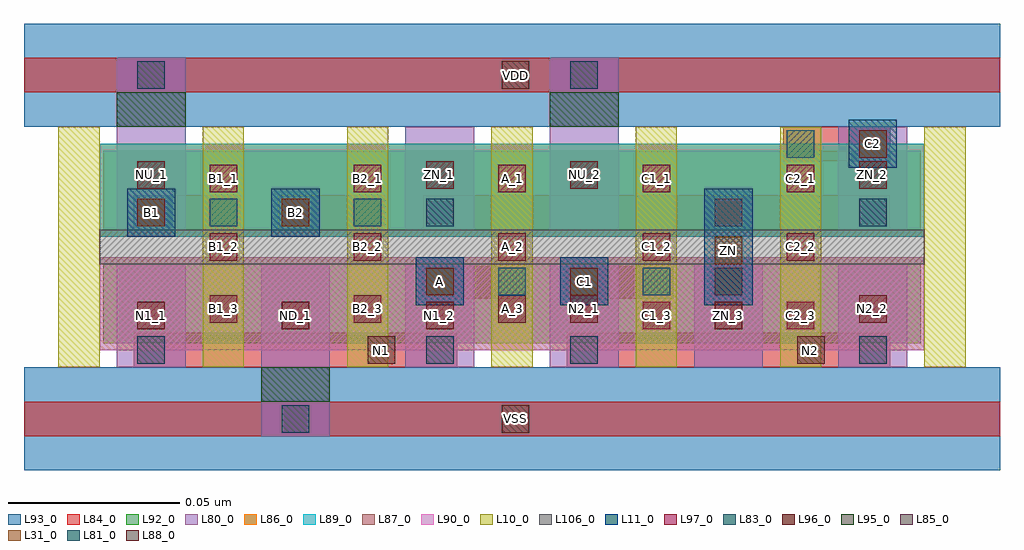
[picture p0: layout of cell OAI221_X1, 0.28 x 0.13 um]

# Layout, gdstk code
import gdstk
lib = gdstk.Library(unit=1e-6, precision=1e-09)
def R(c, l, rs):  # rectangles x0, y0, x1, y1
    for r in rs: c.add(gdstk.rectangle(r[:2], r[2:], *l))
def A(c, l, x, y, w, h, nx, ny, dx, dy):  # array of equal rectangles
    R(c, l, [(x+i*dx, y+j*dy, x+i*dx+w, y+j*dy+h) for i in range(nx) for j in range(ny)])
L10_0 = (10, 0)
L11_0 = (11, 0)
L31_0 = (31, 0)
L80_0 = (80, 0)
L81_0 = (81, 0)
L83_0 = (83, 0)
L84_0 = (84, 0)
L85_0 = (85, 0)
L86_0 = (86, 0)
L87_0 = (87, 0)
L88_0 = (88, 0)
L89_0 = (89, 0)
L90_0 = (90, 0)
L92_0 = (92, 0)
L93_0 = (93, 0)
L95_0 = (95, 0)
L96_0 = (96, 0)
L97_0 = (97, 0)
L106_0 = (106, 0)

oai221_x1 = lib.new_cell('OAI221_X1')
A(oai221_x1, L10_0, -0.027, 0.015, 0.012, 0.07, 7, 1, 0.042, 0)
R(oai221_x1, L11_0, [(0.077,0.033,0.091,0.047), (0.119,0.033,0.133,0.047), (0.161,0.033,0.175,0.067), (-0.007,0.053,0.007,0.067), (0.035,0.053,0.049,0.067), (0.203,0.073,0.217,0.087)])
R(oai221_x1, L31_0, [(0.08,0.036,0.088,0.044), (0.122,0.036,0.13,0.044), (0.164,0.045,0.172,0.053), (-0.004,0.056,0.004,0.064), (0.038,0.056,0.046,0.064), (0.206,0.076,0.214,0.084)])
A(oai221_x1, L80_0, -0.01, 0.015, 0.02, 0.03, 6, 1, 0.042, 0)
R(oai221_x1, L80_0, [(0.032,-0.005,0.052,0.025), (-0.01,0.055,0.01,0.085), (0.074,0.055,0.094,0.085), (0.116,0.055,0.136,0.085), (0.2,0.055,0.22,0.085), (-0.01,0.075,0.01,0.105), (0.116,0.075,0.136,0.105)])
R(oai221_x1, L81_0, [(0.101,0.036,0.109,0.044), (0.143,0.036,0.151,0.044), (0.017,0.056,0.025,0.064), (0.059,0.056,0.067,0.064), (0.185,0.076,0.193,0.084)])
R(oai221_x1, L83_0, [(0.038,-0.004,0.046,0.004), (-0.004,0.016,0.004,0.024), (0.08,0.016,0.088,0.024), (0.122,0.016,0.13,0.024), (0.206,0.016,0.214,0.024), (0.164,0.036,0.172,0.044), (0.08,0.056,0.088,0.064), (0.206,0.056,0.214,0.064), (-0.004,0.096,0.004,0.104), (0.122,0.096,0.13,0.104)])
A(oai221_x1, L84_0, -0.005, 0.015, 0.031, 0.01, 4, 1, 0.021, 0)
A(oai221_x1, L84_0, 0.121, 0.015, 0.031, 0.01, 4, 1, 0.021, 0)
A(oai221_x1, L84_0, -0.005, 0.055, 0.031, 0.01, 3, 1, 0.042, 0)
A(oai221_x1, L84_0, 0.1, 0.055, 0.031, 0.01, 5, 1, 0.021, 0)
R(oai221_x1, L84_0, [(-0.037,-0.005,0.247,0.005), (0.079,0.035,0.11,0.045), (0.121,0.035,0.152,0.045), (0.163,0.035,0.173,0.045), (0.184,0.075,0.215,0.085), (-0.037,0.095,0.247,0.105)])
A(oai221_x1, L85_0, 0.08, 0.036, 0.008, 0.008, 3, 1, 0.042, 0)
R(oai221_x1, L85_0, [(-0.004,0.056,0.004,0.064), (0.038,0.056,0.046,0.064), (0.164,0.056,0.172,0.064), (0.206,0.076,0.214,0.084)])
R(oai221_x1, L86_0, [(-0.015,0.053,0.225,0.08)])
R(oai221_x1, L87_0, [(-0.015,0.02,0.225,0.047)])
R(oai221_x1, L88_0, [(0.102,-0.004,0.11,0.004), (0.063,0.016,0.071,0.024), (0.188,0.016,0.196,0.024), (0.102,0.096,0.11,0.104)])
R(oai221_x1, L89_0, [(-0.015,0.053,0.225,0.08)])
R(oai221_x1, L90_0, [(-0.015,0.02,0.225,0.047)])
R(oai221_x1, L92_0, [(-0.014,0.022,0.224,0.045), (-0.014,0.055,0.224,0.078)])
R(oai221_x1, L93_0, [(-0.037,-0.015,0.247,0.015), (-0.037,0.085,0.247,0.115)])
R(oai221_x1, L95_0, [(0.032,0.005,0.052,0.015), (-0.01,0.085,0.01,0.095), (0.116,0.085,0.136,0.095)])
A(oai221_x1, L96_0, -0.004, 0.026, 0.008, 0.008, 3, 1, 0.042, 0)
R(oai221_x1, L96_0, [(0.164,0.026,0.172,0.034), (0.122,0.028,0.13,0.036), (0.206,0.028,0.214,0.036), (-0.004,0.067,0.004,0.075), (0.08,0.067,0.088,0.075), (0.122,0.067,0.13,0.075), (0.206,0.067,0.214,0.075)])
A(oai221_x1, L97_0, 0.017, 0.028, 0.008, 0.008, 3, 1, 0.042, 0)
A(oai221_x1, L97_0, 0.017, 0.046, 0.008, 0.008, 5, 2, 0.042, 0.02)
R(oai221_x1, L97_0, [(0.143,0.026,0.151,0.034), (0.185,0.026,0.193,0.034)])
R(oai221_x1, L106_0, [(-0.015,0.045,0.225,0.055)])
oai221_x1.add(gdstk.Label('B1', (0,0.06), layer=31, texttype=0))
oai221_x1.add(gdstk.Label('B2', (0.042,0.06), layer=31, texttype=0))
oai221_x1.add(gdstk.Label('A', (0.084,0.04), layer=31, texttype=0))
oai221_x1.add(gdstk.Label('C1', (0.126,0.04), layer=31, texttype=0))
oai221_x1.add(gdstk.Label('C2', (0.21,0.08), layer=31, texttype=0))
oai221_x1.add(gdstk.Label('ZN', (0.168,0.049), layer=31, texttype=0))
oai221_x1.add(gdstk.Label('VDD', (0.106,0.1), layer=88, texttype=0))
oai221_x1.add(gdstk.Label('VSS', (0.106,0), layer=88, texttype=0))
oai221_x1.add(gdstk.Label('N2', (0.192,0.02), layer=88, texttype=0))
oai221_x1.add(gdstk.Label('N1', (0.067,0.02), layer=88, texttype=0))
oai221_x1.add(gdstk.Label('ZN_3', (0.168,0.03), layer=96, texttype=0))
oai221_x1.add(gdstk.Label('N2_1', (0.126,0.032), layer=96, texttype=0))
oai221_x1.add(gdstk.Label('N2_2', (0.21,0.032), layer=96, texttype=0))
oai221_x1.add(gdstk.Label('ND_1', (0.042,0.03), layer=96, texttype=0))
oai221_x1.add(gdstk.Label('NU_1', (0,0.071), layer=96, texttype=0))
oai221_x1.add(gdstk.Label('NU_2', (0.126,0.071), layer=96, texttype=0))
oai221_x1.add(gdstk.Label('ZN_2', (0.21,0.071), layer=96, texttype=0))
oai221_x1.add(gdstk.Label('ZN_1', (0.084,0.071), layer=96, texttype=0))
oai221_x1.add(gdstk.Label('N1_1', (0,0.03), layer=96, texttype=0))
oai221_x1.add(gdstk.Label('N1_2', (0.084,0.03), layer=96, texttype=0))
oai221_x1.add(gdstk.Label('C1_3', (0.147,0.03), layer=97, texttype=0))
oai221_x1.add(gdstk.Label('C1_2', (0.147,0.05), layer=97, texttype=0))
oai221_x1.add(gdstk.Label('C1_1', (0.147,0.07), layer=97, texttype=0))
oai221_x1.add(gdstk.Label('C2_1', (0.189,0.07), layer=97, texttype=0))
oai221_x1.add(gdstk.Label('C2_2', (0.189,0.05), layer=97, texttype=0))
oai221_x1.add(gdstk.Label('C2_3', (0.189,0.03), layer=97, texttype=0))
oai221_x1.add(gdstk.Label('A_1', (0.105,0.07), layer=97, texttype=0))
oai221_x1.add(gdstk.Label('A_2', (0.105,0.05), layer=97, texttype=0))
oai221_x1.add(gdstk.Label('A_3', (0.105,0.032), layer=97, texttype=0))
oai221_x1.add(gdstk.Label('B2_1', (0.063,0.07), layer=97, texttype=0))
oai221_x1.add(gdstk.Label('B2_2', (0.063,0.05), layer=97, texttype=0))
oai221_x1.add(gdstk.Label('B2_3', (0.063,0.032), layer=97, texttype=0))
oai221_x1.add(gdstk.Label('B1_1', (0.021,0.07), layer=97, texttype=0))
oai221_x1.add(gdstk.Label('B1_2', (0.021,0.05), layer=97, texttype=0))
oai221_x1.add(gdstk.Label('B1_3', (0.021,0.032), layer=97, texttype=0))

lib.write_gds('OAI221_X1.gds')
